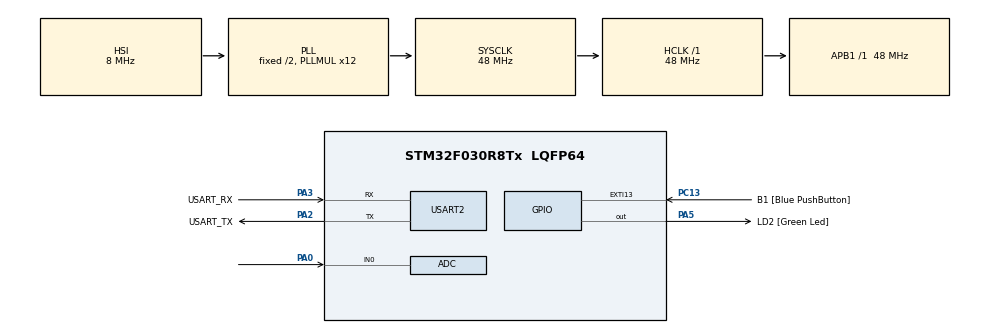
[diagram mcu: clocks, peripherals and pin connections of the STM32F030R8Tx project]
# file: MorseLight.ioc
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Mcu.Family=STM32F0
Mcu.Name=STM32F030R8Tx
Mcu.Package=LQFP64
PA0.Mode=IN0
PA0.Signal=ADC_IN0
PA13.GPIO_Label=TMS
PA13.Mode=Serial_Wire
PA13.Signal=SYS_SWDIO
PA14.GPIO_Label=TCK
PA14.Mode=Serial_Wire
PA14.Signal=SYS_SWCLK
PA2.GPIO_Label=USART_TX
PA2.GPIO_Mode=GPIO_MODE_AF_PP
PA2.GPIO_PuPd=GPIO_NOPULL
PA2.GPIO_Speed=GPIO_SPEED_FREQ_LOW
PA2.Mode=Asynchronous
PA2.Signal=USART2_TX
PA3.GPIO_Label=USART_RX
PA3.GPIO_Mode=GPIO_MODE_AF_PP
PA3.GPIO_PuPd=GPIO_NOPULL
PA3.GPIO_Speed=GPIO_SPEED_FREQ_LOW
PA3.Mode=Asynchronous
PA3.Signal=USART2_RX
PA5.GPIO_Label=LD2 [Green Led]
PA5.GPIO_Mode=GPIO_MODE_OUTPUT_PP
PA5.GPIO_PuPd=GPIO_NOPULL
PA5.GPIO_Speed=GPIO_SPEED_FREQ_LOW
PA5.Signal=GPIO_Output
PC13.GPIO_Label=B1 [Blue PushButton]
PC13.GPIO_ModeDefaultEXTI=GPIO_MODE_IT_FALLING
PC13.Signal=GPXTI13
PC14-OSC32_IN.Mode=LSE-External-Oscillator
PC14-OSC32_IN.Signal=RCC_OSC32_IN
PC15-OSC32_OUT.Mode=LSE-External-Oscillator
PC15-OSC32_OUT.Signal=RCC_OSC32_OUT
PF0-OSC_IN.Mode=HSE-External-Clock-Source
PF0-OSC_IN.Signal=RCC_OSC_IN
PF1-OSC_OUT.Signal=RCC_OSC_OUT
ProjectManager.HeapSize=0x200
ProjectManager.StackSize=0x400
ProjectManager.TargetToolchain=STM32CubeIDE
RCC.AHBFreq_Value=48000000
RCC.APB1Freq_Value=48000000
RCC.APB1TimFreq_Value=48000000
RCC.HCLKFreq_Value=48000000
RCC.PLLMUL=RCC_PLL_MUL12
RCC.SYSCLKFreq_VALUE=48000000
RCC.SYSCLKSource=RCC_SYSCLKSOURCE_PLLCLK
USART2.VirtualMode-Asynchronous=VM_ASYNC
board=NUCLEO-F030R8

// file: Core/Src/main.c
#define th 2500 //threshold between off and on
#define tunit 290 //unità di tempo (in millisecondi)

#include "main.h"

ADC_HandleTypeDef hadc;

UART_HandleTypeDef huart2;

void SystemClock_Config(void);
static void MX_GPIO_Init(void);
static void MX_USART2_UART_Init(void);
static void MX_ADC_Init(void);
uint32_t getInput(void);
char decode(char symb, int inx);

int main(void)
{
  /* Reset of all peripherals, Initializes the Flash interface and the Systick. */
  HAL_Init();

  /* Configure the system clock */
  SystemClock_Config();

  /* Initialize all configured peripherals */
  MX_GPIO_Init();
  MX_USART2_UART_Init();
  MX_ADC_Init();
  /* USER CODE BEGIN 2 */
  char str[] = "Started!\r\n";
  HAL_UART_Transmit(&huart2, str, strlen(str), 0xFFFF);

  //timers
  uint32_t intime1; //tracks the duration of a symbol
  uint32_t endtime1;
  uint32_t intime2; //tracks the duration of a pause

  int state=0; //state machine

  char symb=0; //stores a binary representation of the input
  int inx=0; //index to write symb
  char word[20]; //stores the decoded word
  int w_inx=0; //index to write word

  char msg[30]; //generic string for prints

  while (1)
  {
	  switch(state){
	  case 0: //IDLE State
		  while(getInput()>th); //wait for a character (stuck characters are not managed)
		  intime1 = HAL_GetTick(); //timer 1 start
		  state=1; //decode a symbol
		  break;

	  case 1: //Decoding symbol
		  while(getInput()<=th); //wait for a symbol to end
		  endtime1 = HAL_GetTick(); //timer 1 stop
		  intime2 = HAL_GetTick(); //timer 2 start

		  if((endtime1-intime1)<(2*tunit)){ //if the duration of the symbol is less than 2 units of time, it's a dot

			  //sprintf(msg, "Simbolo: . [Durata: %ld]\r\n", endtime1-intime1); //debug

			  sprintf(msg, ".", endtime1-intime1);  //prepare for serial print symbol
			  symb |= 1<<inx; //a dot is represented as a 1 in symb
		  }
		  else{ //if the duration of the symbol is less than 2 units of time, it's a line

			  //sprintf(msg, "Simbolo: - [Durata: %ld]\r\n", endtime1-intime1); //debug

			  sprintf(msg, "-", endtime1-intime1); //prepare for serial print symbol
		  }
		  HAL_UART_Transmit(&huart2, (uint8_t*)msg, strlen(msg), 0xFFFF); //serial print symbol
		  inx++;

		  state=2; //Check if the symbols are finished or if there are others
		  break;

	  case 2: //Check if the symbols are finished or if there are others
		  while( (getInput()>th) && ( (HAL_GetTick()-intime2) < (2*tunit) ) ); //wait for another symbol or for character timeout
		  if (getInput()<=th){ //new symbol

			  //sprintf(msg, "Nuovo simbolo [inp:%ld] \r\n", getInput()); //debug
			  //HAL_UART_Transmit(&huart2, msg, strlen(msg), 0xFFFF);

			  intime1 = HAL_GetTick(); //reset timer 1

			  state=1; //decode a new symbol
			  break;
		  }
		  else { //character timeout

			  //sprintf(msg, "Character timeout [tim:%ld] \r\n", HAL_GetTick()-intime2); //debug
			  //HAL_UART_Transmit(&huart2, msg, strlen(msg), 0xFFFF);

			  char decoded = decode(symb, inx); //decode the character

			  sprintf(msg, "(%c) ",decoded);
			  HAL_UART_Transmit(&huart2, (uint8_t*)msg, strlen(msg), 0xFFFF); //print the decoded character to serial

			  //reset symb and its index
			  symb=0;
			  inx=0;

			  //add the decoded character to the current word
			  word[w_inx]=decoded;
			  w_inx++;

			  state=3; //end of character -> check if there is a new one or if the word stops
			  break;
		  }
		  break;

	  case 3: //end of character -> check if there is a new one or if the word stops

		  while( (getInput()>th) && ((HAL_GetTick()-intime2)<(4*tunit)) ); //wait for another character or for word timeout

		  if (getInput()<=th){ //new character

			  //sprintf(msg, "New character \r\n"); //debug
			  //HAL_UART_Transmit(&huart2, msg, strlen(msg), 0xFFFF);

			  intime1=HAL_GetTick(); //reset timer 1
			  state=1; //Decode the new symbol
			  break;
		  }
		  else { //word timeout

			  //sprintf(msg, "Word timeout [tim:%ld] \r\n", HAL_GetTick()-intime2); //debug
			  //HAL_UART_Transmit(&huart2, msg, strlen(msg), 0xFFFF);

			  state=0; //word ended, go back to the IDLE state

			  word[w_inx]='\r'; //carriage return
			  word[w_inx+1]='\n'; //line feed
			  word[w_inx+2]='\0'; //ends the string
			  w_inx=0; //reset the word index

			  HAL_UART_Transmit(&huart2, (uint8_t*)word, strlen(word), 0xFFFF); //Print the decoded word to serial

			  //sprintf(msg, "\r\n", endtime1-intime1); //debug
			  //HAL_UART_Transmit(&huart2, (uint8_t*)msg, strlen(msg), 0xFFFF);
			  break;
		  }
		  break;
	  }

  }
  /* USER CODE END 3 */
}

void SystemClock_Config(void)
{
  RCC_OscInitTypeDef RCC_OscInitStruct = {0};
  RCC_ClkInitTypeDef RCC_ClkInitStruct = {0};

  /** Initializes the RCC Oscillators according to the specified parameters
  * in the RCC_OscInitTypeDef structure.
  */
  RCC_OscInitStruct.OscillatorType = RCC_OSCILLATORTYPE_HSI|RCC_OSCILLATORTYPE_HSI14;
  RCC_OscInitStruct.HSIState = RCC_HSI_ON;
  RCC_OscInitStruct.HSI14State = RCC_HSI14_ON;
  RCC_OscInitStruct.HSICalibrationValue = RCC_HSICALIBRATION_DEFAULT;
  RCC_OscInitStruct.HSI14CalibrationValue = 16;
  RCC_OscInitStruct.PLL.PLLState = RCC_PLL_ON;
  RCC_OscInitStruct.PLL.PLLSource = RCC_PLLSOURCE_HSI;
  RCC_OscInitStruct.PLL.PLLMUL = RCC_PLL_MUL12;
  RCC_OscInitStruct.PLL.PREDIV = RCC_PREDIV_DIV1;
  if (HAL_RCC_OscConfig(&RCC_OscInitStruct) != HAL_OK)
  {
    Error_Handler();
  }

  /** Initializes the CPU, AHB and APB buses clocks
  */
  RCC_ClkInitStruct.ClockType = RCC_CLOCKTYPE_HCLK|RCC_CLOCKTYPE_SYSCLK
                              |RCC_CLOCKTYPE_PCLK1;
  RCC_ClkInitStruct.SYSCLKSource = RCC_SYSCLKSOURCE_PLLCLK;
  RCC_ClkInitStruct.AHBCLKDivider = RCC_SYSCLK_DIV1;
  RCC_ClkInitStruct.APB1CLKDivider = RCC_HCLK_DIV1;

  if (HAL_RCC_ClockConfig(&RCC_ClkInitStruct, FLASH_LATENCY_1) != HAL_OK)
  {
    Error_Handler();
  }
}

static void MX_ADC_Init(void)
{

  ADC_ChannelConfTypeDef sConfig = {0};

  /** Configure the global features of the ADC (Clock, Resolution, Data Alignment and number of conversion)
  */
  hadc.Instance = ADC1;
  hadc.Init.ClockPrescaler = ADC_CLOCK_ASYNC_DIV1;
  hadc.Init.Resolution = ADC_RESOLUTION_12B;
  hadc.Init.DataAlign = ADC_DATAALIGN_RIGHT;
  hadc.Init.ScanConvMode = ADC_SCAN_DIRECTION_FORWARD;
  hadc.Init.EOCSelection = ADC_EOC_SINGLE_CONV;
  hadc.Init.LowPowerAutoWait = DISABLE;
  hadc.Init.LowPowerAutoPowerOff = DISABLE;
  hadc.Init.ContinuousConvMode = DISABLE;
  hadc.Init.DiscontinuousConvMode = DISABLE;
  hadc.Init.ExternalTrigConv = ADC_SOFTWARE_START;
  hadc.Init.ExternalTrigConvEdge = ADC_EXTERNALTRIGCONVEDGE_NONE;
  hadc.Init.DMAContinuousRequests = DISABLE;
  hadc.Init.Overrun = ADC_OVR_DATA_PRESERVED;
  if (HAL_ADC_Init(&hadc) != HAL_OK)
  {
    Error_Handler();
  }

  /** Configure for the selected ADC regular channel to be converted.
  */
  sConfig.Channel = ADC_CHANNEL_0;
  sConfig.Rank = ADC_RANK_CHANNEL_NUMBER;
  sConfig.SamplingTime = ADC_SAMPLETIME_1CYCLE_5;
  if (HAL_ADC_ConfigChannel(&hadc, &sConfig) != HAL_OK)
  {
    Error_Handler();
  }

}

static void MX_USART2_UART_Init(void)
{

  huart2.Instance = USART2;
  huart2.Init.BaudRate = 38400;
  huart2.Init.WordLength = UART_WORDLENGTH_8B;
  huart2.Init.StopBits = UART_STOPBITS_1;
  huart2.Init.Parity = UART_PARITY_NONE;
  huart2.Init.Mode = UART_MODE_TX_RX;
  huart2.Init.HwFlowCtl = UART_HWCONTROL_NONE;
  huart2.Init.OverSampling = UART_OVERSAMPLING_16;
  huart2.Init.OneBitSampling = UART_ONE_BIT_SAMPLE_DISABLE;
  huart2.AdvancedInit.AdvFeatureInit = UART_ADVFEATURE_NO_INIT;
  if (HAL_UART_Init(&huart2) != HAL_OK)
  {
    Error_Handler();
  }

}

static void MX_GPIO_Init(void)
{
  GPIO_InitTypeDef GPIO_InitStruct = {0};

  /* GPIO Ports Clock Enable */
  __HAL_RCC_GPIOC_CLK_ENABLE();
  __HAL_RCC_GPIOF_CLK_ENABLE();
  __HAL_RCC_GPIOA_CLK_ENABLE();

  /*Configure GPIO pin Output Level */
  HAL_GPIO_WritePin(LD2_GPIO_Port, LD2_Pin, GPIO_PIN_RESET);

  /*Configure GPIO pin : B1_Pin */
  GPIO_InitStruct.Pin = B1_Pin;
  GPIO_InitStruct.Mode = GPIO_MODE_IT_FALLING;
  GPIO_InitStruct.Pull = GPIO_NOPULL;
  HAL_GPIO_Init(B1_GPIO_Port, &GPIO_InitStruct);

  /*Configure GPIO pin : LD2_Pin */
  GPIO_InitStruct.Pin = LD2_Pin;
  GPIO_InitStruct.Mode = GPIO_MODE_OUTPUT_PP;
  GPIO_InitStruct.Pull = GPIO_NOPULL;
  GPIO_InitStruct.Speed = GPIO_SPEED_FREQ_LOW;
  HAL_GPIO_Init(LD2_GPIO_Port, &GPIO_InitStruct);

}

/* USER CODE BEGIN 4 */
uint32_t getInput(void){
	HAL_ADC_Start(&hadc);
	HAL_ADC_PollForConversion(&hadc, HAL_MAX_DELAY);
	return HAL_ADC_GetValue(&hadc);
}

char decode(char symb, int inx){
	if(symb==0b00001 && inx==2) return 'A';       //.-
	else if (symb==0b01110 && inx==4) return 'B'; //-...
	else if (symb==0b01010 && inx==4) return 'C'; //-.-.
	else if (symb==0b00110 && inx==3) return 'D'; //-..
	else if (symb==0b00001 && inx==1) return 'E'; //.
	else if (symb==0b01011 && inx==4) return 'F'; //..-.
	else if (symb==0b00100 && inx==3) return 'G'; //--.
	else if (symb==0b01111 && inx==4) return 'H'; //....
	else if (symb==0b00011 && inx==2) return 'I'; //..
	else if (symb==0b00001 && inx==4) return 'J'; //.---
	else if (symb==0b00010 && inx==3) return 'K'; //-.-
	else if (symb==0b01101 && inx==4) return 'L'; //.-..
	else if (symb==0b00000 && inx==2) return 'M'; //--
	else if (symb==0b00010 && inx==2) return 'N'; //-.
	else if (symb==0b00000 && inx==3) return 'O'; //---
	else if (symb==0b01001 && inx==4) return 'P'; //.--.
	else if (symb==0b00100 && inx==4) return 'Q'; //--.-
	else if (symb==0b00101 && inx==3) return 'R'; //.-.
	else if (symb==0b00111 && inx==3) return 'S'; //...
	else if (symb==0b00000 && inx==1) return 'T'; //-
	else if (symb==0b00011 && inx==3) return 'U'; //..-
	else if (symb==0b00111 && inx==4) return 'V'; //...-
	else if (symb==0b00001 && inx==3) return 'W'; //.--
	else if (symb==0b00110 && inx==4) return 'X'; //-..-
	else if (symb==0b00010 && inx==4) return 'Y'; //-.--
	else if (symb==0b01100 && inx==4) return 'Z'; //--..
	else if (symb==0b00000 && inx==5) return '0'; //-----
	else if (symb==0b00001 && inx==5) return '1'; //.----
	else if (symb==0b00011 && inx==5) return '2'; //..---
	else if (symb==0b00111 && inx==5) return '3'; //...--
	else if (symb==0b01111 && inx==5) return '4'; //....-
	else if (symb==0b11111 && inx==5) return '5'; //.....
	else if (symb==0b11110 && inx==5) return '6'; //-....
	else if (symb==0b11100 && inx==5) return '7'; //--...
	else if (symb==0b11000 && inx==5) return '8'; //---..
	else if (symb==0b10000 && inx==5) return '9'; //----.
	else return '?';

}
/* USER CODE END 4 */

void Error_Handler(void)
{
  __disable_irq();
  while (1)
  {
  }
}
